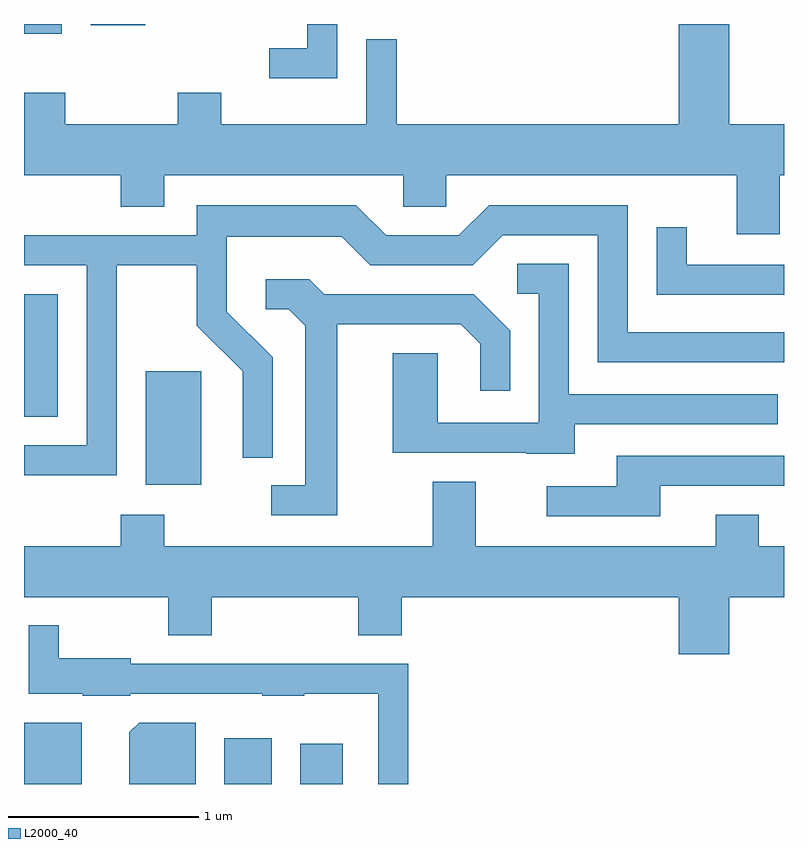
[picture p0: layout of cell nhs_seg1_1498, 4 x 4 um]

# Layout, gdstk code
import gdstk
lib = gdstk.Library(unit=1e-6, precision=1e-09)
def R(c, l, rs):  # rectangles x0, y0, x1, y1
    for r in rs: c.add(gdstk.rectangle(r[:2], r[2:], *l))
def P(c, l, *ps):  # polygons
    for p in ps: c.add(gdstk.Polygon(p, *l))
L2000_40 = (2000, 40)

nhs_seg1_1498 = lib.new_cell('nhs_seg1_1498')
R(nhs_seg1_1498, L2000_40, [(231.611,889.712,231.914,890.034), (232.666,889.712,232.914,889.954), (233.066,889.712,233.289,889.924), (232.251,891.286,232.544,891.884), (231.611,891.646,231.789,892.289), (231.611,893.661,231.809,893.712), (231.961,893.706,232.248,893.712)])
P(nhs_seg1_1498, L2000_40, [(235.589,892.916),(235.611,892.916),(235.611,893.184),(235.324,893.184),(235.324,893.712),(235.056,893.712),(235.056,893.184),(233.574,893.184),(233.574,893.633),(233.411,893.633),(233.411,893.184),(232.649,893.184),(232.649,893.349),(232.421,893.349),(232.421,893.184),(231.829,893.184),(231.829,893.349),(231.611,893.349),(231.611,892.916),(232.121,892.916),(232.121,892.751),(232.349,892.751),(232.349,892.916),(233.606,892.916),(233.606,892.751),(233.834,892.751),(233.834,892.916),(235.361,892.916),(235.361,892.606),(235.589,892.606)],
  [(233.259,893.712),(233.101,893.712),(233.101,893.584),(232.903,893.584),(232.903,893.426),(233.259,893.426)],
  [(232.099,892.441),(232.521,892.441),(232.521,892.124),(232.761,891.884),(232.761,891.428),(232.919,891.428),(232.919,891.957),(232.679,892.197),(232.679,892.591),(233.284,892.591),(233.434,892.441),(233.972,892.441),(234.132,892.601),(234.631,892.601),(234.631,891.931),(235.611,891.931),(235.611,892.089),(234.789,892.089),(234.789,892.759),(234.059,892.759),(233.899,892.599),(233.517,892.599),(233.357,892.759),(232.521,892.759),(232.521,892.599),(231.611,892.599),(231.611,892.441),(231.941,892.441),(231.941,891.494),(231.611,891.494),(231.611,891.336),(232.099,891.336)],
  [(235.611,892.444),(235.099,892.444),(235.099,892.643),(234.941,892.643),(234.941,892.286),(235.611,892.286)],
  [(234.509,891.606),(235.578,891.606),(235.578,891.764),(234.479,891.764),(234.479,892.449),(234.208,892.449),(234.208,892.291),(234.321,892.291),(234.321,891.614),(233.789,891.614),(233.789,891.979),(233.551,891.979),(233.551,891.456),(234.255,891.456),(234.255,891.451),(234.509,891.451)],
  [(233.259,892.131),(233.909,892.131),(234.011,892.029),(234.011,891.783),(234.169,891.783),(234.169,892.097),(233.977,892.289),(233.192,892.289),(233.112,892.369),(232.883,892.369),(232.883,892.211),(233.004,892.211),(233.091,892.124),(233.091,891.284),(232.913,891.284),(232.913,891.126),(233.259,891.126)],
  [(234.959,891.281),(235.611,891.281),(235.611,891.439),(234.731,891.439),(234.731,891.279),(234.363,891.279),(234.363,891.121),(234.959,891.121)],
  [(235.324,890.696),(235.611,890.696),(235.611,890.964),(235.479,890.964),(235.479,891.129),(235.251,891.129),(235.251,890.964),(233.989,890.964),(233.989,891.304),(233.761,891.304),(233.761,890.964),(232.349,890.964),(232.349,891.129),(232.121,891.129),(232.121,890.964),(231.611,890.964),(231.611,890.696),(232.371,890.696),(232.371,890.496),(232.599,890.496),(232.599,890.696),(233.371,890.696),(233.371,890.496),(233.599,890.496),(233.599,890.696),(235.056,890.696),(235.056,890.396),(235.324,890.396)],
  [(233.634,890.344),(232.174,890.344),(232.174,890.374),(231.794,890.374),(231.794,890.548),(231.636,890.548),(231.636,890.186),(231.92,890.186),(231.92,890.176),(232.17,890.176),(232.17,890.186),(232.865,890.186),(232.865,890.176),(233.085,890.176),(233.085,890.186),(233.476,890.186),(233.476,889.712),(233.634,889.712)],
  [(232.514,890.034),(232.217,890.034),(232.166,889.984),(232.166,889.712),(232.514,889.712)])

lib.write_gds('nhs_seg1_1498.gds')
